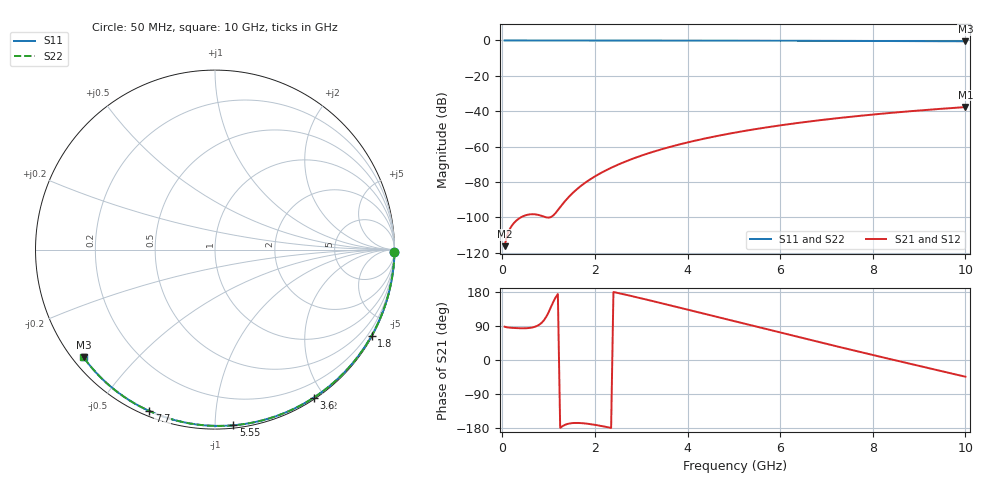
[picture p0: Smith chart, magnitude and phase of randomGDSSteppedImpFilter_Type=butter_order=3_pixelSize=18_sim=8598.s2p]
! freq	dB(S11)	phase(S11)	dB(S12)	phase(S12)
!  dB(S21)	phase(S21)	dB(S22)	phase(S22)
!S-par simulation data
#  GHz  S  DB  R 50
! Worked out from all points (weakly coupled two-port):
!   200 points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, 50 MHz to 10 GHz, reference 50 ohm
!   highest |S21| = -37.66 dB at 10 GHz (marker M1); lowest = -116.3 dB at 50 MHz (marker M2)
!   lowest |S11| = -0.5 dB at 10 GHz (marker M3), VSWR 36.45, Z = 1.55 - j17.9 ohm
!   |S11| at or under -10 dB: nowhere
!   |S22| runs from -0.5 to 0.0 dB; largest |S21 - S12| = 0
!   S11 on the Smith chart (normalised r, x): 50 MHz: open; 1.8 GHz: 0.03, -3.89; 3.6 GHz: 0.02, -1.87; 5.55 GHz: 0.02, -1.11; 7.7 GHz: 0.02, -0.67; 10 GHz: 0.03, -0.36
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0.05  -0.00 -0.8  -116.26 87.8  -116.26 87.8  -0.00 -0.8
0.45  -0.01 -7.3  -99.33 83.7  -99.33 83.7  -0.01 -7.3
0.9  -0.02 -14.6  -99.58 105.0  -99.58 105.0  -0.02 -14.6
1.3  -0.03 -20.9  -92.53 -174.5  -92.53 -174.5  -0.03 -21.0
1.75  -0.04 -28.1  -81.17 -167.0  -81.17 -167.0  -0.04 -28.1
1.8  -0.04 -28.8  -80.22 -167.6  -80.22 -167.6  -0.04 -28.9
2.15  -0.04 -34.3  -74.60 -174.4  -74.60 -174.4  -0.04 -34.3
2.35  -0.05 -37.4  -71.96 -179.3  -71.96 -179.3  -0.05 -37.4
2.55  -0.05 -40.5  -69.61 175.4  -69.61 175.4  -0.05 -40.5
2.95  -0.06 -46.6  -65.57 164.2  -65.57 164.2  -0.06 -46.6
3.4  -0.07 -53.4  -61.79 151.0  -61.79 151.0  -0.07 -53.4
3.6  -0.08 -56.3  -60.31 145.0  -60.31 145.0  -0.08 -56.3
3.9  -0.08 -60.7  -58.27 135.9  -58.27 135.9  -0.08 -60.8
4.3  -0.09 -66.5  -55.83 123.8  -55.83 123.8  -0.09 -66.5
5.05  -0.12 -77.1  -51.95 101.1  -51.95 101.1  -0.12 -77.1
5.55  -0.14 -84.0  -49.76 85.9  -49.76 85.9  -0.14 -84.0
6.1  -0.16 -91.4  -47.62 69.4  -47.62 69.4  -0.16 -91.4
6.7  -0.19 -99.3  -45.56 51.5  -45.56 51.5  -0.19 -99.3
7.7  -0.26 -112.1  -42.65 22.0  -42.65 22.0  -0.26 -112.2
8.35  -0.31 -120.3  -41.03 3.1  -41.03 3.1  -0.31 -120.3
9.2  -0.39 -130.8  -39.17 -21.3  -39.17 -21.3  -0.39 -130.9
10  -0.48 -140.7  -37.66 -44.1  -37.66 -44.1  -0.48 -140.7
